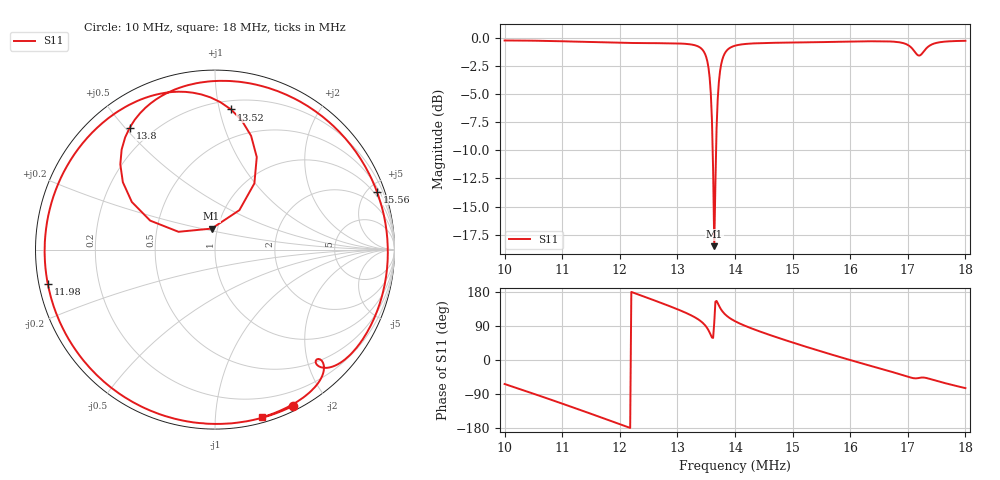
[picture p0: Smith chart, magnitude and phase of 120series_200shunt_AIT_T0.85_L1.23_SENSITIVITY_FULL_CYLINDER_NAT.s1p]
! S11 from 120series_200shunt_AIT_T0.85_L1.23_SENSITIVITY_FULL_CYLINDER_NAT.s1p, converted by the rf-network-modeller history importer
# HZ S RI R 50
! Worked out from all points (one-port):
!   401 points, 10 MHz to 18 MHz, reference 50 ohm
!   lowest |S11| = -18.5 dB at 13.64 MHz (marker M1), VSWR 1.27, Z = 46.9 + j11.1 ohm
!   |S11| at or under -10 dB: 13.61205 MHz to 13.67198 MHz (59.93 kHz wide, 0.439 % of centre)
!   S11 on the Smith chart (normalised r, x): 10 MHz: 0.05, -1.62; 11.98 MHz: 0.03, -0.10; 13.52 MHz: 0.27, +1.08; 13.8 MHz: 0.12, +0.52; 15.56 MHz: 0.72, +5.68; 18 MHz: 0.04, -1.32
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1e7  0.4369 -0.87
1.052e7  0.00208 -0.9712
1.1e7  -0.4098 -0.8747
1.152e7  -0.7654 -0.5752
1.198e7  -0.9311 -0.1937
1.2e7  -0.9345 -0.1759
1.25e7  -0.9057 0.2784
1.3e7  -0.6554 0.6802
1.338e7  -0.2401 0.878
1.352e7  0.0888 0.7811
1.358e7  0.2327 0.5156
1.36e7  0.2194 0.3689
1.364e7  -0.0187 0.117
1.368e7  -0.3612 0.1615
1.372e7  -0.5134 0.3757
1.38e7  -0.4749 0.6799
1.388e7  -0.3582 0.8152
1.4e7  -0.1983 0.9014
1.444e7  0.2489 0.9143
1.5e7  0.6604 0.6879
1.556e7  0.9023 0.3227
1.6e7  0.9623 -0.00024
1.654e7  0.8861 -0.3843
1.7e7  0.669 -0.6464
1.714e7  0.5664 -0.6402
1.724e7  0.586 -0.6118
1.742e7  0.582 -0.7327
1.8e7  0.2637 -0.9339
